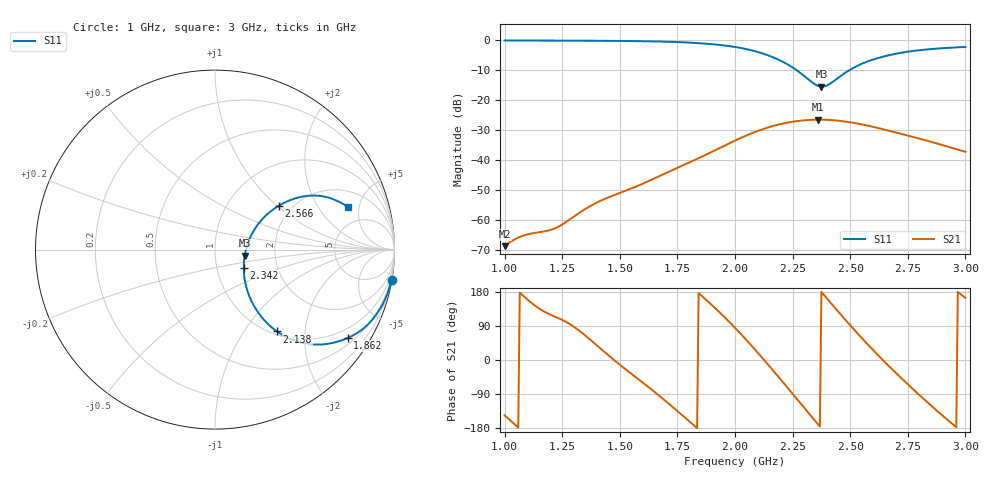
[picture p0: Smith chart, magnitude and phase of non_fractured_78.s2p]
! TOUCHSTONE file generated by CST MICROWAVE STUDIO
! Date and time: Sat Mar  8 13:54:31 2025
! Project name: non_fractured.cst
! Parameters = {B=2.5; D=160; F=25; Feed=2.85625; L=100; M=5; R=0.384908; S=2.5; Theta=90; length=57.125; wave=114.25}
! Header version: 2024
! Port assignment regex: !\s*Touchstone port\s*([0-9]+)\s*=\s*(CST MWS port|CST DES external port|CST DES block port)\s*(.+)\s* \(\"(.*)\"\)(\s*mode\s*([0-9]+))?.*
! Touchstone port assignment:
! Touchstone port 1 = CST MWS port 1 ("")
! Touchstone port 2 = CST MWS port 2 ("")
# GHz S DB R 50
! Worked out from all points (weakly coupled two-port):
!   305 points, 1 GHz to 3 GHz, reference 50 ohm
!   highest |S21| = -26.50 dB at 2.362 GHz (marker M1); lowest = -68.8 dB at 1 GHz (marker M2)
!   lowest |S11| = -15.5 dB at 2.375 GHz (marker M3), VSWR 1.41, Z = 69.6 - j4.9 ohm
!   |S11| at or under -10 dB: 2.268 GHz to 2.495 GHz (226.9 MHz wide, 9.53 % of centre)
!   S12 and S22 are empty: the file has one direction only
!   S11 on the Smith chart (normalised r, x): 1 GHz: 0, -12; 1.862 GHz: 0.68, -3.18; 2.138 GHz: 1.06, -1.43; 2.342 GHz: 1.35, -0.29; 2.566 GHz: 1.71, +1.03; 3 GHz: 3.18, +3.83
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1  -0.02 -9.8  -68.77 -146.1  -200.00 0.0  -200.00 0.0
1.03947  -0.02 -10.3  -66.68 -167.4  -200.00 0.0  -200.00 0.0
1.07895  -0.03 -10.8  -65.30 170.4  -200.00 0.0  -200.00 0.0
1.22368  -0.05 -13.1  -62.62 113.0  -200.00 0.0  -200.00 0.0
1.33553  -0.09 -15.2  -57.05 71.9  -200.00 0.0  -200.00 0.0
1.42105  -0.13 -17.0  -53.44 27.7  -200.00 0.0  -200.00 0.0
1.67105  -0.38 -24.4  -45.37 -94.2  -200.00 0.0  -200.00 0.0
1.86184  -1.03 -33.6  -38.65 165.9  -200.00 0.0  -200.00 0.0
2  -2.19 -42.9  -33.48 85.0  -200.00 0.0  -200.00 0.0
2.07237  -3.32 -48.4  -31.05 37.4  -200.00 0.0  -200.00 0.0
2.13816  -4.85 -52.9  -29.23 -8.4  -200.00 0.0  -200.00 0.0
2.23684  -8.42 -55.3  -27.35 -79.6  -200.00 0.0  -200.00 0.0
2.33553  -14.06 -35.9  -26.54 -151.7  -200.00 0.0  -200.00 0.0
2.34211  -14.42 -32.6  -26.52 -156.5  -200.00 0.0  -200.00 0.0
2.36184  -15.24 -20.7  -26.50 -170.8  -200.00 0.0  -200.00 0.0
2.375  -15.45 -11.7  -26.50 179.7  -200.00 0.0  -200.00 0.0
2.40789  -14.70 9.7  -26.59 156.1  -200.00 0.0  -200.00 0.0
2.47368  -11.06 30.6  -27.07 109.7  -200.00 0.0  -200.00 0.0
2.56579  -7.32 34.5  -28.31 47.8  -200.00 0.0  -200.00 0.0
2.67105  -4.91 31.3  -30.23 -18.0  -200.00 0.0  -200.00 0.0
2.82895  -3.04 24.0  -33.42 -108.2  -200.00 0.0  -200.00 0.0
3  -2.19 17.8  -37.23 163.8  -200.00 0.0  -200.00 0.0
